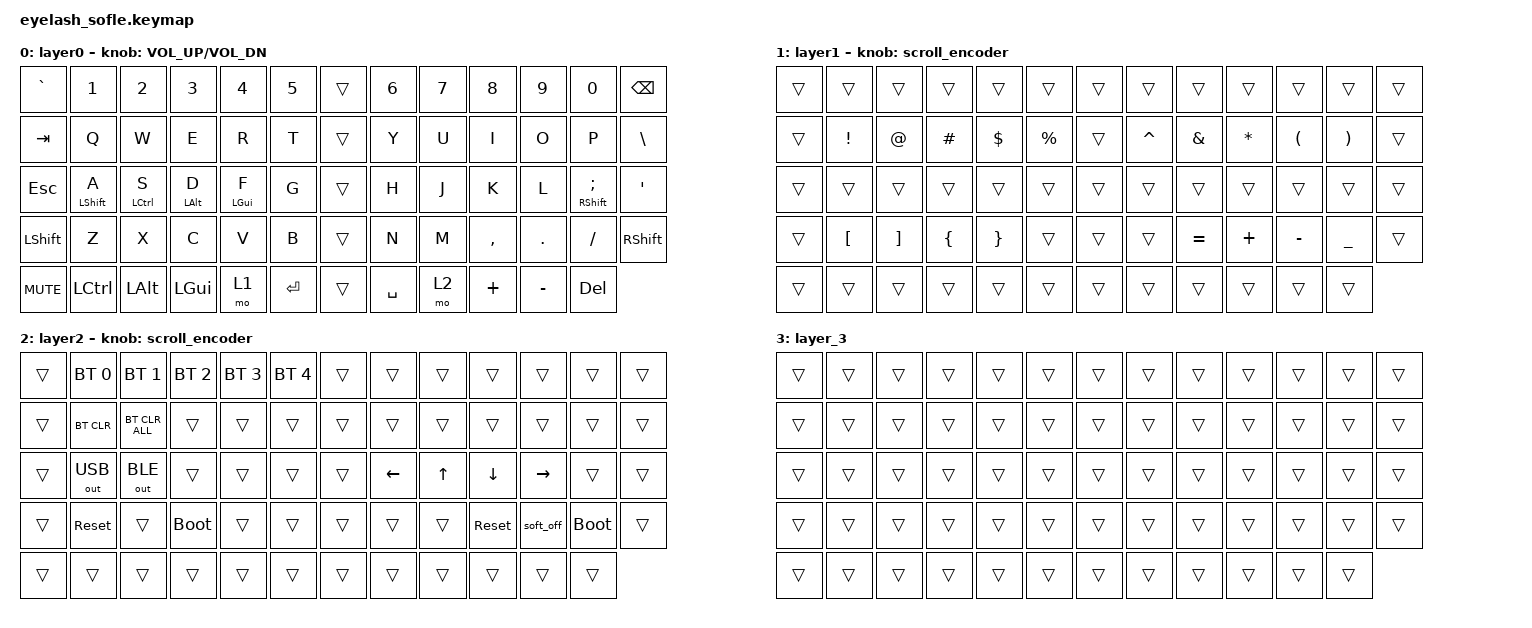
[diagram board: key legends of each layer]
#define ZMK_POINTING_DEFAULT_MOVE_VAL 1200  // 600
#define ZMK_POINTING_DEFAULT_SCRL_VAL 25   // 10

#include <input/processors.dtsi>
#include <zephyr/dt-bindings/input/input-event-codes.h>
#include <behaviors.dtsi>
#include <dt-bindings/zmk/bt.h>
#include <dt-bindings/zmk/ext_power.h>
#include <dt-bindings/zmk/keys.h>
#include <dt-bindings/zmk/pointing.h>
#include <dt-bindings/zmk/rgb.h>
#include <dt-bindings/zmk/outputs.h>

&mmv_input_listener { input-processors = <&zip_xy_scaler 2 1>; };

&msc_input_listener { input-processors = <&zip_scroll_scaler 2 1>; };

&msc {
    acceleration-exponent = <1>;      // 0
    time-to-max-speed-ms = <100>;       // 300
    delay-ms = <0>;                   // 0
};

&mmv {
    time-to-max-speed-ms = <500>;
    acceleration-exponent = <1>;
    trigger-period-ms = <16>;
};


/ {

    scroll_encoder: scroll_encoder {
        compatible = "zmk,behavior-sensor-rotate";
        #sensor-binding-cells = <0>;
        bindings = <&msc SCRL_DOWN>, <&msc SCRL_UP>;
        tap-ms = <100>;
    };

    keymap {
        compatible = "zmk,keymap";

        layer0 {
            bindings = <
&kp GRAVE   &kp N1       &kp N2        &kp N3          &kp N4          &kp N5     &trans  &kp N6     &kp N7  &kp N8     &kp N9     &kp N0          &kp BACKSPACE
&kp TAB     &kp Q        &kp W         &kp E           &kp R           &kp T      &trans  &kp Y      &kp U   &kp I      &kp O      &kp P           &kp BSLH
&kp ESC     &mt LSHFT A  &mt LCTRL S   &mt LEFT_ALT D  &mt LEFT_GUI F  &kp G      &trans  &kp H      &kp J   &kp K      &kp L      &mt RSHFT SEMI  &kp APOS
&kp LSHFT   &kp Z        &kp X         &kp C           &kp V           &kp B      &trans  &kp N      &kp M   &kp COMMA  &kp DOT    &kp FSLH        &kp RSHFT
&kp C_MUTE  &kp LCTRL    &kp LEFT_ALT  &kp LEFT_GUI    &mo 1           &kp ENTER  &trans  &kp SPACE  &mo 2   &kp PLUS   &kp MINUS  &kp DELETE
            >;

            display-name = "layer0";
            sensor-bindings = <&inc_dec_kp C_VOLUME_UP C_VOL_DN>;
        };

        layer_1 {
            bindings = < 
&trans  &trans    &trans    &trans    &trans    &trans     &trans  &trans     &trans     &trans     &trans     &trans     &trans
&trans  &kp EXCL  &kp AT    &kp HASH  &kp DLLR  &kp PRCNT  &trans  &kp CARET  &kp AMPS   &kp ASTRK  &kp LPAR   &kp RPAR   &trans
&trans  &trans    &trans    &trans    &trans    &trans     &trans  &trans     &trans     &trans     &trans     &trans     &trans
&trans  &kp LBKT  &kp RBKT  &kp LBRC  &kp RBRC  &trans     &trans  &trans     &kp EQUAL  &kp PLUS   &kp MINUS  &kp UNDER  &trans
&trans  &trans    &trans    &trans    &trans    &trans     &trans  &trans     &trans     &trans     &trans     &trans
            >;

            display-name = "layer1";
            sensor-bindings = <&scroll_encoder>;
        };

        layer_2 {
            bindings = <
&trans  &bt BT_SEL 0  &bt BT_SEL 1    &bt BT_SEL 2  &bt BT_SEL 3  &bt BT_SEL 4  &trans  &trans          &trans        &trans          &trans           &trans       &trans
&trans  &bt BT_CLR    &bt BT_CLR_ALL  &trans        &trans        &trans        &trans  &trans          &trans        &trans          &trans           &trans       &trans
&trans  &out OUT_USB  &out OUT_BLE    &trans        &trans        &trans        &trans  &kp LEFT_ARROW  &kp UP_ARROW  &kp DOWN_ARROW  &kp RIGHT_ARROW  &trans       &trans
&trans  &sys_reset    &trans          &bootloader   &trans        &trans        &trans  &trans          &trans        &sys_reset      &soft_off        &bootloader  &trans
&trans  &trans        &trans          &trans        &trans        &trans        &trans  &trans          &trans        &trans          &trans           &trans
            >;

            display-name = "layer2";
            sensor-bindings = <&scroll_encoder>;
        };

        layer_3 {
            bindings = <
&trans  &trans  &trans  &trans  &trans  &trans    &trans  &trans  &trans  &trans  &trans  &trans  &trans
&trans  &trans  &trans  &trans  &trans  &trans    &trans  &trans  &trans  &trans  &trans  &trans  &trans
&trans  &trans  &trans  &trans  &trans  &trans    &trans  &trans  &trans  &trans  &trans  &trans  &trans
&trans  &trans  &trans  &trans  &trans  &trans    &trans  &trans  &trans  &trans  &trans  &trans  &trans
&trans  &trans  &trans  &trans  &trans  &trans    &trans  &trans  &trans  &trans  &trans  &trans
            >;
        };
    };
};
